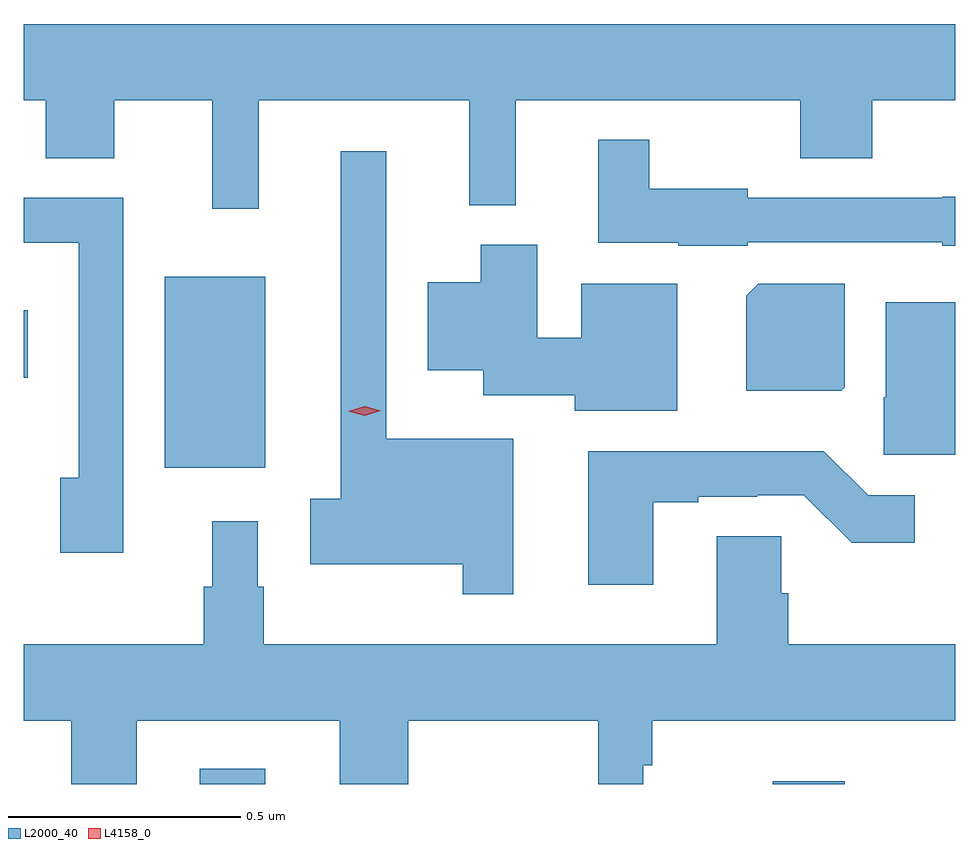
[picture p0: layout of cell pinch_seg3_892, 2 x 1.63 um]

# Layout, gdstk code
import gdstk
lib = gdstk.Library(unit=1e-6, precision=1e-09)
def R(c, l, rs):  # rectangles x0, y0, x1, y1
    for r in rs: c.add(gdstk.rectangle(r[:2], r[2:], *l))
def P(c, l, *ps):  # polygons
    for p in ps: c.add(gdstk.Polygon(p, *l))
L2000_40 = (2000, 40)
L4158_0 = (4158, 0)

pinch_seg3_892 = lib.new_cell('pinch_seg3_892')
R(pinch_seg3_892, L2000_40, [(707.333,674.14,707.473,674.173), (708.563,674.14,708.718,674.146), (707.258,674.819,707.473,675.229), (706.955,675.012,706.963,675.157)])
P(pinch_seg3_892, L2000_40, [(707.459,675.608),(707.912,675.608),(707.912,675.383),(708.011,675.383),(708.011,675.608),(708.622,675.608),(708.622,675.484),(708.777,675.484),(708.777,675.608),(708.955,675.608),(708.955,675.772),(706.955,675.772),(706.955,675.608),(707.002,675.608),(707.002,675.484),(707.149,675.484),(707.149,675.608),(707.36,675.608),(707.36,675.375),(707.459,675.375)],
  [(708.51,675.303),(708.927,675.303),(708.927,675.296),(708.955,675.296),(708.955,675.401),(708.927,675.401),(708.927,675.399),(708.51,675.399),(708.51,675.418),(708.298,675.418),(708.298,675.523),(708.188,675.523),(708.188,675.302),(708.36,675.302),(708.36,675.296),(708.51,675.296)],
  [(708.006,674.881),(707.733,674.881),(707.733,675.499),(707.636,675.499),(707.636,674.753),(707.57,674.753),(707.57,674.612),(707.898,674.612),(707.898,674.547),(708.006,674.547)],
  [(707.169,675.399),(706.955,675.399),(706.955,675.302),(707.073,675.302),(707.073,674.798),(707.033,674.798),(707.033,674.637),(707.169,674.637)],
  [(708.358,675.214),(708.152,675.214),(708.152,675.098),(708.058,675.098),(708.058,675.298),(707.936,675.298),(707.936,675.217),(707.822,675.217),(707.822,675.029),(707.942,675.029),(707.942,674.975),(708.138,674.975),(708.138,674.942),(708.358,674.942)],
  [(708.718,674.992),(708.718,675.214),(708.532,675.214),(708.506,675.188),(708.506,674.984),(708.71,674.984)],
  [(708.955,675.175),(708.806,675.175),(708.806,674.97),(708.802,674.97),(708.802,674.847),(708.955,674.847)],
  [(708.307,674.745),(708.403,674.745),(708.403,674.757),(708.53,674.757),(708.53,674.76),(708.63,674.76),(708.733,674.658),(708.868,674.658),(708.868,674.76),(708.768,674.76),(708.673,674.855),(708.167,674.855),(708.167,674.568),(708.307,674.568)],
  [(707.197,674.276),(707.633,674.276),(707.633,674.14),(707.781,674.14),(707.781,674.276),(708.188,674.276),(708.188,674.14),(708.285,674.14),(708.285,674.18),(708.305,674.18),(708.305,674.276),(708.955,674.276),(708.955,674.44),(708.596,674.44),(708.596,674.55),(708.582,674.55),(708.582,674.672),(708.443,674.672),(708.443,674.44),(707.47,674.44),(707.47,674.564),(707.457,674.564),(707.457,674.704),(707.36,674.704),(707.36,674.564),(707.341,674.564),(707.341,674.44),(706.955,674.44),(706.955,674.276),(707.057,674.276),(707.057,674.14),(707.197,674.14)])
P(pinch_seg3_892, L4158_0, [(707.687,674.931),(707.652,674.94),(707.651,674.94),(707.652,674.94),(707.687,674.951),(707.722,674.942),(707.722,674.942),(707.722,674.942)])

lib.write_gds('pinch_seg3_892.gds')
